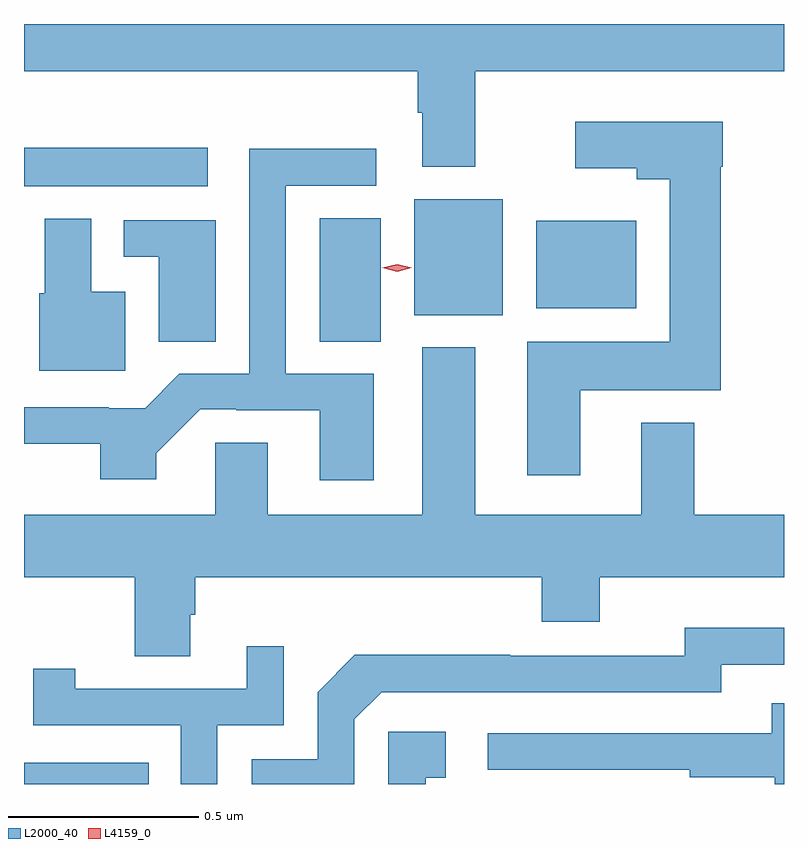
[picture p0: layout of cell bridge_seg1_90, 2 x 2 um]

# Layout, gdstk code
import gdstk
lib = gdstk.Library(unit=1e-6, precision=1e-09)
def R(c, l, rs):  # rectangles x0, y0, x1, y1
    for r in rs: c.add(gdstk.rectangle(r[:2], r[2:], *l))
def P(c, l, *ps):  # polygons
    for p in ps: c.add(gdstk.Polygon(p, *l))
L2000_40 = (2000, 40)
L4159_0 = (4159, 0)

bridge_seg1_90 = lib.new_cell('bridge_seg1_90')
R(bridge_seg1_90, L2000_40, [(186.973,513.892,187.301,513.948), (187.751,515.056,187.912,515.381), (188,515.126,188.233,515.431), (188.321,515.144,188.584,515.374), (186.973,515.465,187.456,515.566)])
P(bridge_seg1_90, L2000_40, [(188.161,515.768),(188.973,515.768),(188.973,515.892),(186.973,515.892),(186.973,515.768),(188.009,515.768),(188.009,515.659),(188.021,515.659),(188.021,515.516),(188.161,515.516)],
  [(188.437,514.928),(188.807,514.928),(188.807,515.517),(188.812,515.517),(188.812,515.635),(188.424,515.635),(188.424,515.513),(188.585,515.513),(188.585,515.483),(188.672,515.483),(188.672,515.056),(188.297,515.056),(188.297,514.704),(188.437,514.704)],
  [(187.894,514.971),(187.662,514.971),(187.662,515.466),(187.9,515.466),(187.9,515.564),(187.566,515.564),(187.566,514.971),(187.382,514.971),(187.292,514.881),(187.196,514.881),(187.196,514.884),(186.973,514.884),(186.973,514.787),(187.174,514.787),(187.174,514.694),(187.321,514.694),(187.321,514.762),(187.437,514.878),(187.531,514.878),(187.531,514.875),(187.751,514.875),(187.751,514.692),(187.894,514.692)],
  [(187.24,515.188),(187.15,515.188),(187.15,515.38),(187.028,515.38),(187.028,515.184),(187.013,515.184),(187.013,514.979),(187.24,514.979)],
  [(187.477,515.376),(187.235,515.376),(187.235,515.28),(187.328,515.28),(187.328,515.056),(187.477,515.056)],
  [(187.411,514.338),(187.424,514.338),(187.424,514.436),(188.336,514.436),(188.336,514.319),(188.488,514.319),(188.488,514.436),(188.973,514.436),(188.973,514.6),(188.737,514.6),(188.737,514.843),(188.597,514.843),(188.597,514.6),(188.161,514.6),(188.161,515.041),(188.021,515.041),(188.021,514.6),(187.615,514.6),(187.615,514.79),(187.476,514.79),(187.476,514.6),(186.973,514.6),(186.973,514.436),(187.264,514.436),(187.264,514.228),(187.411,514.228)],
  [(187.842,514.062),(187.914,514.134),(188.808,514.134),(188.808,514.206),(188.973,514.206),(188.973,514.303),(188.712,514.303),(188.712,514.23),(188.252,514.23),(188.252,514.232),(187.844,514.232),(187.746,514.134),(187.746,513.957),(187.572,513.957),(187.572,513.892),(187.842,513.892)],
  [(187.482,514.047),(187.656,514.047),(187.656,514.255),(187.559,514.255),(187.559,514.143),(187.108,514.143),(187.108,514.195),(186.997,514.195),(186.997,514.047),(187.386,514.047),(187.386,513.892),(187.482,513.892)],
  [(188.973,514.105),(188.941,514.105),(188.941,514.026),(188.193,514.026),(188.193,513.93),(188.725,513.93),(188.725,513.91),(188.949,513.91),(188.949,513.892),(188.973,513.892)],
  [(188.03,513.909),(188.083,513.909),(188.083,514.03),(187.932,514.03),(187.932,513.892),(188.03,513.892)])
P(bridge_seg1_90, L4159_0, [(187.955,515.24),(187.916,515.25),(187.916,515.25),(187.916,515.251),(187.955,515.26),(187.994,515.251),(187.994,515.25),(187.994,515.25)])

lib.write_gds('bridge_seg1_90.gds')
